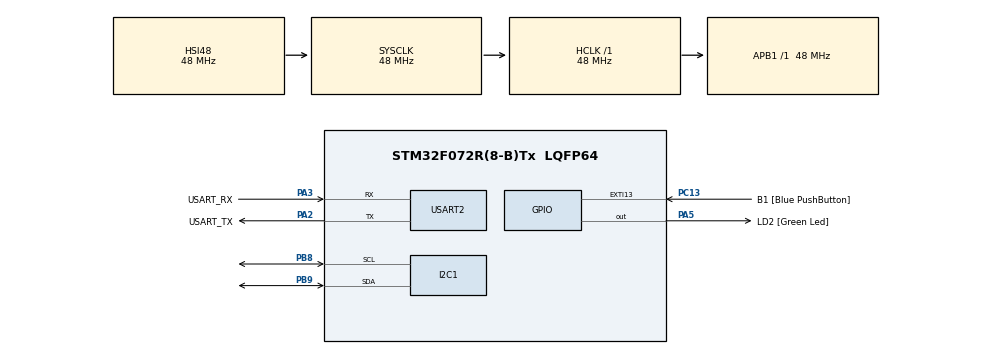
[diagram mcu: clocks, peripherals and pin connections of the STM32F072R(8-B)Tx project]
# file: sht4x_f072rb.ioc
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Mcu.Family=STM32F0
Mcu.Name=STM32F072R(8-B)Tx
Mcu.Package=LQFP64
PA13.GPIO_Label=TMS
PA13.Mode=Serial_Wire
PA13.Signal=SYS_SWDIO
PA14.GPIO_Label=TCK
PA14.Mode=Serial_Wire
PA14.Signal=SYS_SWCLK
PA2.GPIO_Label=USART_TX
PA2.GPIO_Mode=GPIO_MODE_AF_PP
PA2.GPIO_PuPd=GPIO_NOPULL
PA2.GPIO_Speed=GPIO_SPEED_FREQ_LOW
PA2.Mode=Asynchronous
PA2.Signal=USART2_TX
PA3.GPIO_Label=USART_RX
PA3.GPIO_Mode=GPIO_MODE_AF_PP
PA3.GPIO_PuPd=GPIO_NOPULL
PA3.GPIO_Speed=GPIO_SPEED_FREQ_LOW
PA3.Mode=Asynchronous
PA3.Signal=USART2_RX
PA5.GPIO_Label=LD2 [Green Led]
PA5.GPIO_Mode=GPIO_MODE_OUTPUT_PP
PA5.GPIO_PuPd=GPIO_NOPULL
PA5.GPIO_Speed=GPIO_SPEED_FREQ_LOW
PA5.Signal=GPIO_Output
PB8.Mode=I2C
PB8.Signal=I2C1_SCL
PB9.Mode=I2C
PB9.Signal=I2C1_SDA
PC13.GPIO_Label=B1 [Blue PushButton]
PC13.GPIO_ModeDefaultEXTI=GPIO_MODE_IT_FALLING
PC13.Signal=GPXTI13
PC14-OSC32_IN.Mode=LSE-External-Oscillator
PC14-OSC32_IN.Signal=RCC_OSC32_IN
PC15-OSC32_OUT.Mode=LSE-External-Oscillator
PC15-OSC32_OUT.Signal=RCC_OSC32_OUT
PF0-OSC_IN.Mode=HSE-External-Clock-Source
PF0-OSC_IN.Signal=RCC_OSC_IN
PF1-OSC_OUT.Signal=RCC_OSC_OUT
ProjectManager.HeapSize=0x200
ProjectManager.StackSize=0x400
ProjectManager.TargetToolchain=STM32CubeIDE
RCC.AHBFreq_Value=48000000
RCC.APB1Freq_Value=48000000
RCC.APB1TimFreq_Value=48000000
RCC.FLatency-AdvancedSettings=FLASH_LATENCY_1
RCC.HCLKFreq_Value=48000000
RCC.PLLDivider=RCC_PREDIV_DIV2
RCC.PLLMUL=RCC_PLL_MUL12
RCC.PREFETCH_ENABLE-AdvancedSettings=1
RCC.SYSCLKFreq_VALUE=48000000
RCC.SYSCLKSource=RCC_SYSCLKSOURCE_HSI48
USART2.VirtualMode=VM_ASYNC
USART2.VirtualMode-Asynchronous=VM_ASYNC
board=NUCLEO-F072RB

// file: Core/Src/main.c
/* USER CODE BEGIN Header */
/**
  ******************************************************************************
  * @file           : main.c
  * @brief          : Main program body
  ******************************************************************************
  * @attention
  *
  * Copyright (c) 2022 STMicroelectronics.
  * All rights reserved.
  *
  * This software is licensed under terms that can be found in the LICENSE file
  * in the root directory of this software component.
  * If no LICENSE file comes with this software, it is provided AS-IS.
  *
  ******************************************************************************
  */
/* USER CODE END Header */
#include "main.h"

/* USER CODE BEGIN Includes */
#include <string.h>
#include <stdio.h>
/* USER CODE END Includes */

I2C_HandleTypeDef hi2c1;
static const uint8_t SHT45_ADDR = 0x44 << 1; //7 bit addr with 1 bit for R/W
static const uint8_t SHT45_DataReg = 0xFD;

UART_HandleTypeDef huart2;

void SystemClock_Config(void);
static void MX_GPIO_Init(void);
static void MX_USART2_UART_Init(void);
static void MX_I2C1_Init(void);

int main(void)
{
  /* USER CODE BEGIN 1 */
	HAL_StatusTypeDef status_ret;
	uint8_t uint8_DataBuffer[12];
	int16_t int16_TempVal;
	float float_Temp;
	int16_t int16_HumidityVal;
	float float_Humidity;
  /* USER CODE END 1 */

  /* MCU Configuration--------------------------------------------------------*/

  /* Reset of all peripherals, Initializes the Flash interface and the Systick. */
  HAL_Init();

  /* Configure the system clock */
  SystemClock_Config();

  /* Initialize all configured peripherals */
  MX_GPIO_Init();
  MX_USART2_UART_Init();
  MX_I2C1_Init();

  /* Infinite loop */
  /* USER CODE BEGIN WHILE */
  while (1)
  {
	  uint8_DataBuffer[0] = SHT45_DataReg;
//	  status_ret = HAL_I2C_MASTER_TRANSMIT(&hi2c1, SHT45_ADDR, uint8_DataBuffer, 1, HAL_MAX_DELAY);
	  if(status_ret != HAL_OK)
	  {
		  strcpy((char*)uint8_DataBuffer, "ERROR TX!!!!\r\n");
	  }
	  else
	  {
//		  status_ret = HAL_I2C_MASTER_RECEIVE(&hi2c1, SHT45_ADDR, uint8_DataBuffer, 6, HAL_MAX_DELAY);
		  if(status_ret != HAL_OK)
		  	  {
		  		  strcpy((char*)uint8_DataBuffer, "ERROR RX!!!!\r\n");
		  	  }
		  else
		  {
			  int16_TempVal = ((int16_t)uint8_DataBuffer[0] << 8) | uint8_DataBuffer[1];
//			  int16_TempVal = (uint8_DataBuffer[0] * 256) + uint8_DataBuffer[1];
//			  float_TempVal = (-45 + 175 *((int16_HumidityVal/65535)));

			  int16_HumidityVal = ((int16_t)uint8_DataBuffer[3] << 8) | uint8_DataBuffer[4];
//			  int16_HumidityVal = (uint8_DataBuffer[3] * 256) + uint8_DataBuffer[4];
//			  float_HumidityVal = (-6 + (125 *(int16_TempVal/65535)));
		  }
	  }

    /* USER CODE END WHILE */

  }
}

void SystemClock_Config(void)
{
  RCC_OscInitTypeDef RCC_OscInitStruct = {0};
  RCC_ClkInitTypeDef RCC_ClkInitStruct = {0};
  RCC_PeriphCLKInitTypeDef PeriphClkInit = {0};

  /** Initializes the RCC Oscillators according to the specified parameters
  * in the RCC_OscInitTypeDef structure.
  */
  RCC_OscInitStruct.OscillatorType = RCC_OSCILLATORTYPE_HSI|RCC_OSCILLATORTYPE_HSI48;
  RCC_OscInitStruct.HSIState = RCC_HSI_ON;
  RCC_OscInitStruct.HSI48State = RCC_HSI48_ON;
  RCC_OscInitStruct.HSICalibrationValue = RCC_HSICALIBRATION_DEFAULT;
  RCC_OscInitStruct.PLL.PLLState = RCC_PLL_NONE;
  if (HAL_RCC_OscConfig(&RCC_OscInitStruct) != HAL_OK)
  {
    Error_Handler();
  }

  /** Initializes the CPU, AHB and APB buses clocks
  */
  RCC_ClkInitStruct.ClockType = RCC_CLOCKTYPE_HCLK|RCC_CLOCKTYPE_SYSCLK
                              |RCC_CLOCKTYPE_PCLK1;
  RCC_ClkInitStruct.SYSCLKSource = RCC_SYSCLKSOURCE_HSI48;
  RCC_ClkInitStruct.AHBCLKDivider = RCC_SYSCLK_DIV1;
  RCC_ClkInitStruct.APB1CLKDivider = RCC_HCLK_DIV1;

  if (HAL_RCC_ClockConfig(&RCC_ClkInitStruct, FLASH_LATENCY_1) != HAL_OK)
  {
    Error_Handler();
  }
  PeriphClkInit.PeriphClockSelection = RCC_PERIPHCLK_USART2|RCC_PERIPHCLK_I2C1;
  PeriphClkInit.Usart2ClockSelection = RCC_USART2CLKSOURCE_PCLK1;
  PeriphClkInit.I2c1ClockSelection = RCC_I2C1CLKSOURCE_HSI;
  if (HAL_RCCEx_PeriphCLKConfig(&PeriphClkInit) != HAL_OK)
  {
    Error_Handler();
  }
}

static void MX_I2C1_Init(void)
{

  hi2c1.Instance = I2C1;
  hi2c1.Init.Timing = 0x2000090E;
  hi2c1.Init.OwnAddress1 = 0;
  hi2c1.Init.AddressingMode = I2C_ADDRESSINGMODE_7BIT;
  hi2c1.Init.DualAddressMode = I2C_DUALADDRESS_DISABLE;
  hi2c1.Init.OwnAddress2 = 0;
  hi2c1.Init.OwnAddress2Masks = I2C_OA2_NOMASK;
  hi2c1.Init.GeneralCallMode = I2C_GENERALCALL_DISABLE;
  hi2c1.Init.NoStretchMode = I2C_NOSTRETCH_DISABLE;
  if (HAL_I2C_Init(&hi2c1) != HAL_OK)
  {
    Error_Handler();
  }

  /** Configure Analogue filter
  */
  if (HAL_I2CEx_ConfigAnalogFilter(&hi2c1, I2C_ANALOGFILTER_ENABLE) != HAL_OK)
  {
    Error_Handler();
  }

  /** Configure Digital filter
  */
  if (HAL_I2CEx_ConfigDigitalFilter(&hi2c1, 0) != HAL_OK)
  {
    Error_Handler();
  }

}

static void MX_USART2_UART_Init(void)
{

  huart2.Instance = USART2;
  huart2.Init.BaudRate = 38400;
  huart2.Init.WordLength = UART_WORDLENGTH_8B;
  huart2.Init.StopBits = UART_STOPBITS_1;
  huart2.Init.Parity = UART_PARITY_NONE;
  huart2.Init.Mode = UART_MODE_TX_RX;
  huart2.Init.HwFlowCtl = UART_HWCONTROL_NONE;
  huart2.Init.OverSampling = UART_OVERSAMPLING_16;
  huart2.Init.OneBitSampling = UART_ONE_BIT_SAMPLE_DISABLE;
  huart2.AdvancedInit.AdvFeatureInit = UART_ADVFEATURE_NO_INIT;
  if (HAL_UART_Init(&huart2) != HAL_OK)
  {
    Error_Handler();
  }

}

static void MX_GPIO_Init(void)
{
  GPIO_InitTypeDef GPIO_InitStruct = {0};

  /* GPIO Ports Clock Enable */
  __HAL_RCC_GPIOC_CLK_ENABLE();
  __HAL_RCC_GPIOF_CLK_ENABLE();
  __HAL_RCC_GPIOA_CLK_ENABLE();
  __HAL_RCC_GPIOB_CLK_ENABLE();

  /*Configure GPIO pin Output Level */
  HAL_GPIO_WritePin(GPIOA, GPIO_PIN_5, GPIO_PIN_RESET);

  /*Configure GPIO pin : PC13 */
  GPIO_InitStruct.Pin = GPIO_PIN_13;
  GPIO_InitStruct.Mode = GPIO_MODE_IT_FALLING;
  GPIO_InitStruct.Pull = GPIO_NOPULL;
  HAL_GPIO_Init(GPIOC, &GPIO_InitStruct);

  /*Configure GPIO pin : PA5 */
  GPIO_InitStruct.Pin = GPIO_PIN_5;
  GPIO_InitStruct.Mode = GPIO_MODE_OUTPUT_PP;
  GPIO_InitStruct.Pull = GPIO_NOPULL;
  GPIO_InitStruct.Speed = GPIO_SPEED_FREQ_LOW;
  HAL_GPIO_Init(GPIOA, &GPIO_InitStruct);

}

void Error_Handler(void)
{
  __disable_irq();
  while (1)
  {
  }
}
